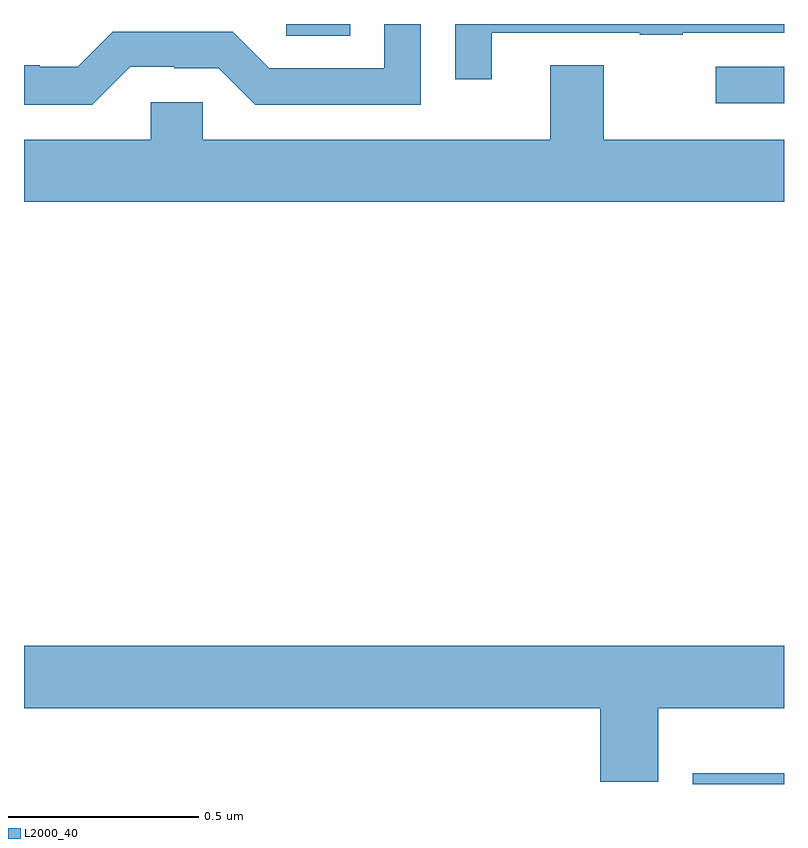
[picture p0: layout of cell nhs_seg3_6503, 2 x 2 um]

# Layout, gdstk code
import gdstk
lib = gdstk.Library(unit=1e-6, precision=1e-09)
def R(c, l, rs):  # rectangles x0, y0, x1, y1
    for r in rs: c.add(gdstk.rectangle(r[:2], r[2:], *l))
def P(c, l, *ps):  # polygons
    for p in ps: c.add(gdstk.Polygon(p, *l))
L2000_40 = (2000, 40)

nhs_seg3_6503 = lib.new_cell('nhs_seg3_6503')
R(nhs_seg3_6503, L2000_40, [(193.76,683.4,194,683.428), (193.821,685.191,194,685.287), (192.69,685.369,192.858,685.4)])
P(nhs_seg3_6503, L2000_40, [(192.279,685.287),(192.395,685.287),(192.395,685.284),(192.513,685.284),(192.609,685.188),(193.044,685.188),(193.044,685.4),(192.948,685.4),(192.948,685.284),(192.645,685.284),(192.549,685.38),(192.234,685.38),(192.141,685.287),(192.041,685.287),(192.041,685.291),(192,685.291),(192,685.187),(192.179,685.187)],
  [(193.231,685.377),(193.621,685.377),(193.621,685.372),(193.733,685.372),(193.733,685.377),(194,685.377),(194,685.4),(193.135,685.4),(193.135,685.254),(193.231,685.254)],
  [(194,685.096),(193.525,685.096),(193.525,685.291),(193.385,685.291),(193.385,685.096),(192.471,685.096),(192.471,685.194),(192.333,685.194),(192.333,685.096),(192,685.096),(192,684.932),(194,684.932)],
  [(193.669,683.6),(194,683.6),(194,683.764),(192,683.764),(192,683.6),(193.517,683.6),(193.517,683.406),(193.669,683.406)])

lib.write_gds('nhs_seg3_6503.gds')
